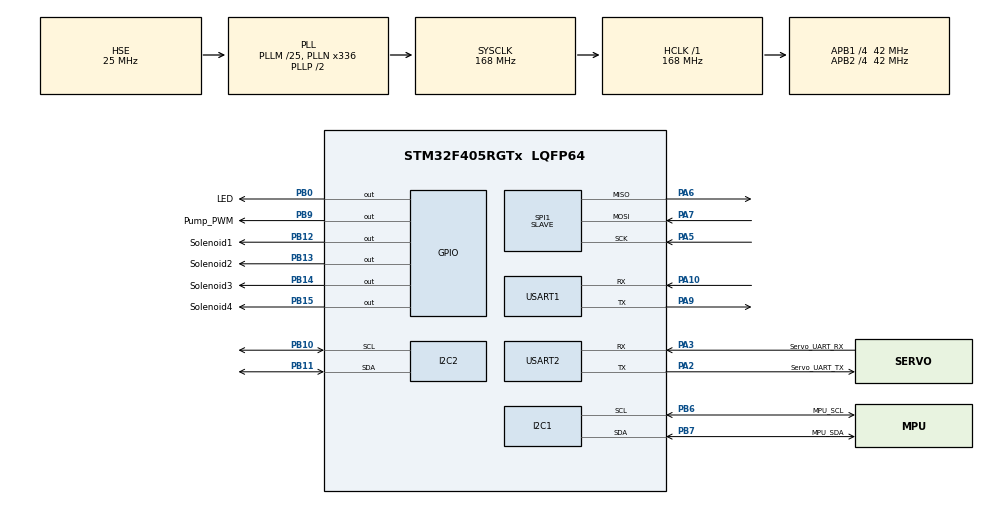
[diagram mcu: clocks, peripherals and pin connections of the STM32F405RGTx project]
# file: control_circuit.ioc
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Mcu.Family=STM32F4
Mcu.Name=STM32F405RGTx
Mcu.Package=LQFP64
NVIC.PriorityGroup=NVIC_PRIORITYGROUP_4
NVIC.USART1_IRQn=true\:12\:0\:true\:false\:true\:true\:true\:true
NVIC.USART2_IRQn=true\:4\:0\:true\:false\:true\:true\:true\:true
PA10.Mode=Asynchronous
PA10.Signal=USART1_RX
PA2.GPIO_Label=Servo_UART_TX
PA2.Mode=Asynchronous
PA2.Signal=USART2_TX
PA3.GPIO_Label=Servo_UART_RX
PA3.Mode=Asynchronous
PA3.Signal=USART2_RX
PA5.Mode=Full_Duplex_Slave
PA5.Signal=SPI1_SCK
PA6.Mode=Full_Duplex_Slave
PA6.Signal=SPI1_MISO
PA7.Mode=Full_Duplex_Slave
PA7.Signal=SPI1_MOSI
PA9.Mode=Asynchronous
PA9.Signal=USART1_TX
PB0.GPIO_Label=LED
PB0.Signal=GPIO_Output
PB10.Mode=I2C
PB10.Signal=I2C2_SCL
PB11.Mode=I2C
PB11.Signal=I2C2_SDA
PB12.GPIO_Label=Solenoid1
PB12.Signal=GPIO_Output
PB13.GPIO_Label=Solenoid2
PB13.Signal=GPIO_Output
PB14.GPIO_Label=Solenoid3
PB14.Signal=GPIO_Output
PB15.GPIO_Label=Solenoid4
PB15.Signal=GPIO_Output
PB6.GPIO_Label=MPU_SCL
PB6.Mode=I2C
PB6.Signal=I2C1_SCL
PB7.GPIO_Label=MPU_SDA
PB7.Mode=I2C
PB7.Signal=I2C1_SDA
PB9.GPIO_Label=Pump_PWM
PB9.Signal=GPIO_Output
PH0-OSC_IN.Mode=HSE-External-Oscillator
PH0-OSC_IN.Signal=RCC_OSC_IN
PH1-OSC_OUT.Mode=HSE-External-Oscillator
PH1-OSC_OUT.Signal=RCC_OSC_OUT
ProjectManager.HeapSize=0x200
ProjectManager.StackSize=0x400
ProjectManager.TargetToolchain=MDK-ARM V5.32
RCC.48MHZClocksFreq_Value=84000000
RCC.AHBFreq_Value=168000000
RCC.APB1CLKDivider=RCC_HCLK_DIV4
RCC.APB1Freq_Value=42000000
RCC.APB1TimFreq_Value=84000000
RCC.APB2CLKDivider=RCC_HCLK_DIV4
RCC.APB2Freq_Value=42000000
RCC.APB2TimFreq_Value=84000000
RCC.CortexFreq_Value=168000000
RCC.HCLKFreq_Value=168000000
RCC.HSE_VALUE=25000000
RCC.HSI_VALUE=16000000
RCC.LSE_VALUE=32768
RCC.PLLM=25
RCC.PLLN=336
RCC.PLLSourceVirtual=RCC_PLLSOURCE_HSE
RCC.SYSCLKFreq_VALUE=168000000
RCC.SYSCLKSource=RCC_SYSCLKSOURCE_PLLCLK
RCC.VCOOutputFreq_Value=336000000
SPI1.Direction=SPI_DIRECTION_2LINES
SPI1.Mode=SPI_MODE_SLAVE
SPI1.VirtualType=VM_SLAVE
USART1.VirtualMode=VM_ASYNC
USART2.VirtualMode=VM_ASYNC
board=custom

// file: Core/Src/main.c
/* USER CODE BEGIN Header */
/**
  ******************************************************************************
  * @file           : main.c
  * @brief          : Main program body
  ******************************************************************************
  * @attention
  *
  * Copyright (c) 2024 STMicroelectronics.
  * All rights reserved.
  *
  * This software is licensed under terms that can be found in the LICENSE file
  * in the root directory of this software component.
  * If no LICENSE file comes with this software, it is provided AS-IS.
  *
  ******************************************************************************
  */
/* USER CODE END Header */
#include "main.h"

/* USER CODE BEGIN Includes */
#include "delay.h"
#include "SMS_STS.h"
#include "robotMotion.h"

/* USER CODE END Includes */

I2C_HandleTypeDef hi2c1;
I2C_HandleTypeDef hi2c2;

SPI_HandleTypeDef hspi1;

UART_HandleTypeDef huart1;
UART_HandleTypeDef huart2;

void SystemClock_Config(void);
static void MX_GPIO_Init(void);
static void MX_I2C1_Init(void);
static void MX_I2C2_Init(void);
static void MX_SPI1_Init(void);
static void MX_USART1_UART_Init(void);
static void MX_USART2_UART_Init(void);
/* USER CODE BEGIN PFP */
int ret;

uint8_t msgUART1[8] = {0};
int8_t instruction;
int8_t param1;
float param2;

uint8_t stopFlag = 0;
/* USER CODE END PFP */

int main(void)
{

  /* MCU Configuration--------------------------------------------------------*/

  /* Reset of all peripherals, Initializes the Flash interface and the Systick. */
  HAL_Init();

  /* USER CODE BEGIN Init */
	delay_init(168);
  /* USER CODE END Init */

  /* Configure the system clock */
  SystemClock_Config();

  /* Initialize all configured peripherals */
  MX_GPIO_Init();
  MX_I2C1_Init();
  MX_I2C2_Init();
  MX_SPI1_Init();
  MX_USART1_UART_Init();
  MX_USART2_UART_Init();
  /* USER CODE BEGIN 2 */
	WritePosEx(1, 2048, 1200, 50);
	WritePosEx(2, 2048, 1200, 50);
	WritePosEx(3, 2048, 1200, 50);
	WritePosEx(4, 2048, 1200, 50);
	delay_ms(500);

	HAL_UART_Receive_IT(&huart1, msgUART1, 8);
  /* USER CODE END 2 */

  /* Infinite loop */
  while (1)
  {

		//param1 refers to which side to step first
		//param2 refers to the division
		if(instruction){
			switch(instruction){
				case -1:
					robotOneStepBackward(param1, param2);
					break;
				case 1:
					robotOneStepForward(param1, param2);
					break;
				case 2:
					robotOneStepLeft(param2);
					break;
				case 3:
					robotOneStepRight(param2);
					break;

				case 8:
					stopFlag = 0;
					robotContinuousForward(param1, param2, &stopFlag);
					break;
				case 9:
					stopFlag = 1;
					break;
			}
			instruction = 0;
		}

  }
}

void SystemClock_Config(void)
{
  RCC_OscInitTypeDef RCC_OscInitStruct = {0};
  RCC_ClkInitTypeDef RCC_ClkInitStruct = {0};

  /** Configure the main internal regulator output voltage
  */
  __HAL_RCC_PWR_CLK_ENABLE();
  __HAL_PWR_VOLTAGESCALING_CONFIG(PWR_REGULATOR_VOLTAGE_SCALE1);

  /** Initializes the RCC Oscillators according to the specified parameters
  * in the RCC_OscInitTypeDef structure.
  */
  RCC_OscInitStruct.OscillatorType = RCC_OSCILLATORTYPE_HSE;
  RCC_OscInitStruct.HSEState = RCC_HSE_ON;
  RCC_OscInitStruct.PLL.PLLState = RCC_PLL_ON;
  RCC_OscInitStruct.PLL.PLLSource = RCC_PLLSOURCE_HSE;
  RCC_OscInitStruct.PLL.PLLM = 25;
  RCC_OscInitStruct.PLL.PLLN = 336;
  RCC_OscInitStruct.PLL.PLLP = RCC_PLLP_DIV2;
  RCC_OscInitStruct.PLL.PLLQ = 4;
  if (HAL_RCC_OscConfig(&RCC_OscInitStruct) != HAL_OK)
  {
    Error_Handler();
  }

  /** Initializes the CPU, AHB and APB buses clocks
  */
  RCC_ClkInitStruct.ClockType = RCC_CLOCKTYPE_HCLK|RCC_CLOCKTYPE_SYSCLK
                              |RCC_CLOCKTYPE_PCLK1|RCC_CLOCKTYPE_PCLK2;
  RCC_ClkInitStruct.SYSCLKSource = RCC_SYSCLKSOURCE_PLLCLK;
  RCC_ClkInitStruct.AHBCLKDivider = RCC_SYSCLK_DIV1;
  RCC_ClkInitStruct.APB1CLKDivider = RCC_HCLK_DIV4;
  RCC_ClkInitStruct.APB2CLKDivider = RCC_HCLK_DIV4;

  if (HAL_RCC_ClockConfig(&RCC_ClkInitStruct, FLASH_LATENCY_5) != HAL_OK)
  {
    Error_Handler();
  }
}

static void MX_I2C1_Init(void)
{

  hi2c1.Instance = I2C1;
  hi2c1.Init.ClockSpeed = 100000;
  hi2c1.Init.DutyCycle = I2C_DUTYCYCLE_2;
  hi2c1.Init.OwnAddress1 = 0;
  hi2c1.Init.AddressingMode = I2C_ADDRESSINGMODE_7BIT;
  hi2c1.Init.DualAddressMode = I2C_DUALADDRESS_DISABLE;
  hi2c1.Init.OwnAddress2 = 0;
  hi2c1.Init.GeneralCallMode = I2C_GENERALCALL_DISABLE;
  hi2c1.Init.NoStretchMode = I2C_NOSTRETCH_DISABLE;
  if (HAL_I2C_Init(&hi2c1) != HAL_OK)
  {
    Error_Handler();
  }

}

static void MX_I2C2_Init(void)
{

  hi2c2.Instance = I2C2;
  hi2c2.Init.ClockSpeed = 100000;
  hi2c2.Init.DutyCycle = I2C_DUTYCYCLE_2;
  hi2c2.Init.OwnAddress1 = 0;
  hi2c2.Init.AddressingMode = I2C_ADDRESSINGMODE_7BIT;
  hi2c2.Init.DualAddressMode = I2C_DUALADDRESS_DISABLE;
  hi2c2.Init.OwnAddress2 = 0;
  hi2c2.Init.GeneralCallMode = I2C_GENERALCALL_DISABLE;
  hi2c2.Init.NoStretchMode = I2C_NOSTRETCH_DISABLE;
  if (HAL_I2C_Init(&hi2c2) != HAL_OK)
  {
    Error_Handler();
  }

}

static void MX_SPI1_Init(void)
{

  /* SPI1 parameter configuration*/
  hspi1.Instance = SPI1;
  hspi1.Init.Mode = SPI_MODE_SLAVE;
  hspi1.Init.Direction = SPI_DIRECTION_2LINES;
  hspi1.Init.DataSize = SPI_DATASIZE_8BIT;
  hspi1.Init.CLKPolarity = SPI_POLARITY_LOW;
  hspi1.Init.CLKPhase = SPI_PHASE_1EDGE;
  hspi1.Init.NSS = SPI_NSS_SOFT;
  hspi1.Init.FirstBit = SPI_FIRSTBIT_MSB;
  hspi1.Init.TIMode = SPI_TIMODE_DISABLE;
  hspi1.Init.CRCCalculation = SPI_CRCCALCULATION_DISABLE;
  hspi1.Init.CRCPolynomial = 10;
  if (HAL_SPI_Init(&hspi1) != HAL_OK)
  {
    Error_Handler();
  }

}

static void MX_USART1_UART_Init(void)
{

  huart1.Instance = USART1;
  huart1.Init.BaudRate = 115200;
  huart1.Init.WordLength = UART_WORDLENGTH_8B;
  huart1.Init.StopBits = UART_STOPBITS_1;
  huart1.Init.Parity = UART_PARITY_NONE;
  huart1.Init.Mode = UART_MODE_TX_RX;
  huart1.Init.HwFlowCtl = UART_HWCONTROL_NONE;
  huart1.Init.OverSampling = UART_OVERSAMPLING_16;
  if (HAL_UART_Init(&huart1) != HAL_OK)
  {
    Error_Handler();
  }

}

static void MX_USART2_UART_Init(void)
{

  huart2.Instance = USART2;
  huart2.Init.BaudRate = 115200;
  huart2.Init.WordLength = UART_WORDLENGTH_8B;
  huart2.Init.StopBits = UART_STOPBITS_1;
  huart2.Init.Parity = UART_PARITY_NONE;
  huart2.Init.Mode = UART_MODE_TX_RX;
  huart2.Init.HwFlowCtl = UART_HWCONTROL_NONE;
  huart2.Init.OverSampling = UART_OVERSAMPLING_16;
  if (HAL_UART_Init(&huart2) != HAL_OK)
  {
    Error_Handler();
  }

}

static void MX_GPIO_Init(void)
{
  GPIO_InitTypeDef GPIO_InitStruct = {0};

  /* GPIO Ports Clock Enable */
  __HAL_RCC_GPIOH_CLK_ENABLE();
  __HAL_RCC_GPIOA_CLK_ENABLE();
  __HAL_RCC_GPIOB_CLK_ENABLE();

  /*Configure GPIO pin Output Level */
  HAL_GPIO_WritePin(GPIOB, LED_Pin|Solenoid1_Pin|Solenoid2_Pin|Solenoid3_Pin
                          |Solenoid4_Pin|Pump_PWM_Pin, GPIO_PIN_RESET);

  /*Configure GPIO pins : LED_Pin Solenoid1_Pin Solenoid2_Pin Solenoid3_Pin
                           Solenoid4_Pin Pump_PWM_Pin */
  GPIO_InitStruct.Pin = LED_Pin|Solenoid1_Pin|Solenoid2_Pin|Solenoid3_Pin
                          |Solenoid4_Pin|Pump_PWM_Pin;
  GPIO_InitStruct.Mode = GPIO_MODE_OUTPUT_PP;
  GPIO_InitStruct.Pull = GPIO_NOPULL;
  GPIO_InitStruct.Speed = GPIO_SPEED_FREQ_LOW;
  HAL_GPIO_Init(GPIOB, &GPIO_InitStruct);

}

/* USER CODE BEGIN 4 */

void HAL_UART_RxCpltCallback(UART_HandleTypeDef *huart)
{
	uint8_t Pin_State;
	static uint8_t LED_Pin_State = 0;
  if(huart->Instance == USART1){
		switch(msgUART1[0]){
			case 0x01:
				//LED instruction
				LED_Pin_State = ~LED_Pin_State;
				HAL_GPIO_WritePin(GPIOB, LED_Pin, LED_Pin_State);
				break;
			case 0x02:
				//Solenoid valve instruction
				Pin_State = HAL_GPIO_ReadPin(GPIOB, Solenoid1_Pin << (msgUART1[1] - 1));
				HAL_GPIO_WritePin(GPIOB, Solenoid1_Pin << (msgUART1[1] - 1), 1 - Pin_State);
				break;
			case 0x03:
				Pin_State = HAL_GPIO_ReadPin(GPIOB, Pump_PWM_Pin);
				HAL_GPIO_WritePin(GPIOB, Pump_PWM_Pin, 1 - Pin_State);

				break;
			case 0x7F:
				//Servo instruction
				instruction = *(int8_t*)(msgUART1 + 1);  //1 = forward, 2 = left, 3 = right, -1 = backward, 8 = continuous, 9 = stop continuous
			  if (instruction == 9){
					stopFlag = 1;
				}
				param1 = *(int8_t*)(msgUART1 + 2);  //parameter 1
				param2 = *(float*)(msgUART1 + 4);  //parameter 2
				break;
		}
		HAL_UART_Receive_IT(&huart1, msgUART1, 8);
	}
}

void Uart_Send(uint8_t *buf , uint16_t len)
{
	HAL_UART_Transmit(&huart2, buf, len, HAL_MAX_DELAY);
}

int16_t Uart_Read(uint8_t *buf , uint16_t len, uint32_t timeout)
{
	if(HAL_UART_Receive(&huart2, buf, len, timeout)==HAL_OK){
		return len;
	}else{
		return 0;
	}
}

/* USER CODE END 4 */

void Error_Handler(void)
{
  __disable_irq();
  while (1)
  {
  }
}
